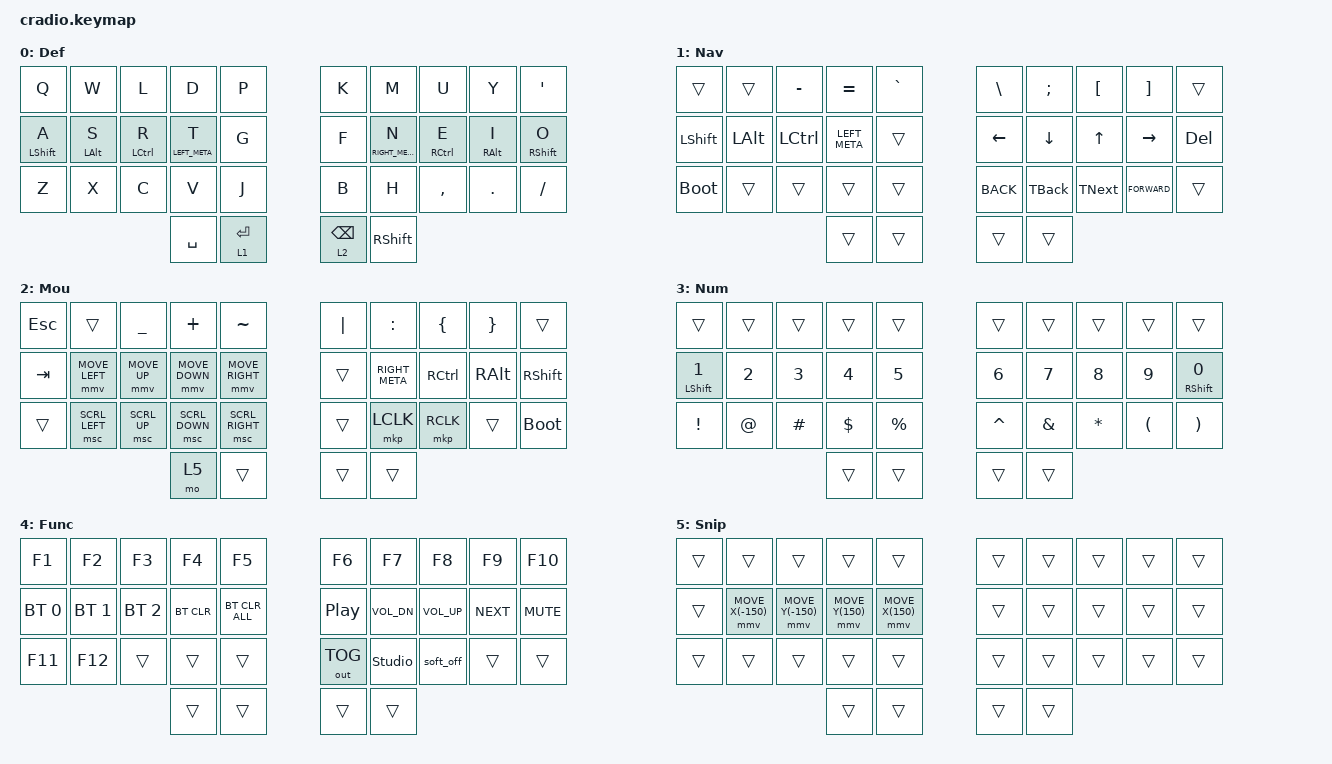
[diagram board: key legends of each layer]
// Copyright (c) 2022 The ZMK Contributors
// SPDX-License-Identifier: MIT

#define ZMK_POINTING_DEFAULT_MOVE_VAL 2400  // 600
#define ZMK_POINTING_DEFAULT_SCRL_VAL 30    // 10

#include "behaviors/character_map.dtsi"
#include "behaviors/send_string.dtsi"
#include "behaviors/report.dtsi"
#include <behaviors.dtsi>
#include <dt-bindings/zmk/bt.h>
#include <dt-bindings/zmk/keys.h>
#include <dt-bindings/zmk/outputs.h>
#include <dt-bindings/zmk/pointing.h>

#define MAC 0
#define WIN 1
#define RIG 2
#define LEF 3
#define TRI 4
#define MOUSE 5

// https://zmk.dev/docs/development/hardware-integration/soft-off-setup?advanced-methods=wakeup&kscan-type=dkscan

/ {
    keys {
        compatible = "gpio-keys";

        soft_off_gpio_key: soft_off_gpio_key { gpios = <&gpio1 6 (GPIO_ACTIVE_LOW | GPIO_PULL_UP)>; };
    };

    wakeup_scan: wakeup_scan {
        compatible = "zmk,kscan-gpio-direct";
        input-keys = <&soft_off_gpio_key>;
        wakeup-source;
    };

    side_band_behavior_triggers: side_band_behavior_triggers {
        compatible = "zmk,kscan-sideband-behaviors";
        kscan = <&wakeup_scan>;
        auto-enable;
        wakeup-source;
    };

    soft_off_wakers {
        compatible = "zmk,soft-off-wakeup-sources";
        wakeup-sources = <&wakeup_scan>;
    };
};

/ {
    vbatt: vbatt { compatible = "zmk,battery-nrf-vddh"; };

    chosen {
        zmk,charmap = &charmap_us;
        zmk,battery = &vbatt;
    };

    behaviors {
        hml: home_row_mod_left {
            compatible = "zmk,behavior-hold-tap";
            #binding-cells = <2>;
            flavor = "tap-preferred";
            require-prior-idle-ms = <150>;
            tapping-term-ms = <200>;
            quick-tap-ms = <175>;
            bindings = <&kp>, <&kp>;

            // Removed (Causes visual delay) hold-trigger-on-release;

            hold-trigger-key-positions = <5 6 7 8 9 15 16 17 18 19 25 26 27 28 29 32 33>;
        };

        hmr: home_row_mod_right {
            compatible = "zmk,behavior-hold-tap";
            #binding-cells = <2>;
            flavor = "tap-preferred";
            require-prior-idle-ms = <150>;
            tapping-term-ms = <250>;
            quick-tap-ms = <175>;
            bindings = <&kp>, <&kp>;

            // Removed (Causes visual delay) hold-trigger-on-release;

            hold-trigger-key-positions = <0 1 2 3 4 10 11 12 13 14 20 21 22 23 24 30 31>;
        };

        ht: hold_tap {
            display-name = "hold_tap";
            compatible = "zmk,behavior-hold-tap";
            #binding-cells = <2>;
            flavor = "balanced";
            tapping-term-ms = <250>;
            quick-tap-ms = <175>;
            bindings = <&kp>, <&kp>;

            hold-trigger-key-positions = <11 12 13 16 17 18 10 19>;
            hold-trigger-on-release;
            require-prior-idle-ms = <150>;
        };

        msl: Mod_S_Layer {
            compatible = "zmk,behavior-hold-tap";
            label = "Mod_S_Layer";
            bindings = <&kp>, <&sl>;

            #binding-cells = <2>;
            tapping-term-ms = <200>;
            quick-tap-ms = <150>;
            flavor = "balanced";
        };

        mmv {
            acceleration-exponent = <2>;      // 1
            time-to-max-speed-ms = <500>;    // 40
            delay-ms = <0>;                   // 0
        };

        msc {
            acceleration-exponent = <0>;      // 0
            time-to-max-speed-ms = <40>;      // 500
            delay-ms = <0>;                   // 10
        };
    };

    conditional_layers {
        compatible = "zmk,conditional-layers";

        Numbers {
            if-layers = <1 2>;
            then-layer = <3>;
        };
    };

    combos {
        compatible = "zmk,combos";

        Func {
            bindings = <&mo 4>;
            key-positions = <30 33>;
        };

        Copy {
            bindings = <&kp LC(C)>;
            key-positions = <22 23>;
        };

        Paste {
            bindings = <&kp LC(V)>;
            key-positions = <23 24>;
        };

        Undo {
            bindings = <&kp LC(Z)>;
            key-positions = <21 22>;
        };

        Cut {
            bindings = <&kp LC(X)>;
            key-positions = <21 20>;
        };
    };

    macros {
        TBack: TBack {
            compatible = "zmk,behavior-macro";
            #binding-cells = <0>;
            bindings =
                <&macro_press>,
                <&kp LEFT_CONTROL &kp LEFT_SHIFT>,
                <&macro_tap>,
                <&kp TAB>,
                <&macro_release>,
                <&kp LEFT_CONTROL &kp LEFT_SHIFT>;

            label = "TBACK";
        };

        TNext: TNext {
            compatible = "zmk,behavior-macro";
            #binding-cells = <0>;
            bindings =
                <&macro_press>,
                <&kp LEFT_CONTROL>,
                <&macro_tap>,
                <&kp TAB>,
                <&macro_release>,
                <&kp LEFT_CONTROL>;

            label = "TNEXT";
        };
    };

    keymap {
        compatible = "zmk,keymap";

        Default_layer {
            display-name = "Def";
            bindings = <
&kp Q          &kp W            &kp L                &kp D             &kp P          &kp K            &kp M              &kp U                 &kp Y             &kp SINGLE_QUOTE
&hml LSHIFT A  &hml LEFT_ALT S  &hml LEFT_CONTROL R  &hml LEFT_META T  &kp G          &kp F            &hmr RIGHT_META N  &hmr RIGHT_CONTROL E  &hmr RIGHT_ALT I  &hmr RIGHT_SHIFT O
&kp Z          &kp X            &kp C                &kp V             &kp J          &kp B            &kp H              &kp COMMA             &kp PERIOD        &kp SLASH
                                                     &kp SPACE         &lt 1 ENTER    &lt 2 BACKSPACE  &kp RSHIFT
            >;
        };

        Navigation {
            display-name = "Nav";
            bindings = <
&trans       &trans        &kp MINUS         &kp EQUAL      &kp GRAVE    &kp BACKSLASH  &kp SEMI        &kp LEFT_BRACKET  &kp RIGHT_BRACKET  &trans
&kp LSHIFT   &kp LEFT_ALT  &kp LEFT_CONTROL  &kp LEFT_META  &trans       &kp LEFT       &kp DOWN_ARROW  &kp UP_ARROW      &kp RIGHT          &kp DELETE
&bootloader  &trans        &trans            &trans         &trans       &kp K_BACK     &TBack          &TNext            &kp K_FORWARD      &trans
                                             &trans         &trans       &trans         &trans
            >;
        };

        Mouse {
            display-name = "Mou";
            bindings = <
&kp ESCAPE  &trans          &kp UNDERSCORE  &kp PLUS        &kp TILDE          &kp PIPE  &kp COLON       &kp LEFT_BRACE     &kp RIGHT_BRACE  &trans
&kp TAB     &mmv MOVE_LEFT  &mmv MOVE_UP    &mmv MOVE_DOWN  &mmv MOVE_RIGHT    &trans    &kp RIGHT_META  &kp RIGHT_CONTROL  &kp RIGHT_ALT    &kp RSHIFT
&trans      &msc SCRL_LEFT  &msc SCRL_UP    &msc SCRL_DOWN  &msc SCRL_RIGHT    &trans    &mkp LCLK       &mkp RCLK          &trans           &bootloader
                                            &mo 5          &trans             &trans    &trans
            >;
        };

        Numbers {
            display-name = "Num";
            bindings = <
&trans                &trans        &trans        &trans        &trans         &trans        &trans         &trans        &trans                &trans
&hml LSHIFT NUMBER_1  &kp NUMBER_2  &kp NUMBER_3  &kp NUMBER_4  &kp N5         &kp NUMBER_6  &kp NUMBER_7   &kp NUMBER_8  &kp NUMBER_9          &hmr RSHIFT N0
&kp EXCLAMATION       &kp AT_SIGN   &kp HASH      &kp DOLLAR    &kp PERCENT    &kp CARET     &kp AMPERSAND  &kp ASTERISK  &kp LEFT_PARENTHESIS  &kp RIGHT_PARENTHESIS
                                                  &trans        &trans         &trans        &trans
            >;
        };

        Functions {
            display-name = "Func";
            bindings = <
&kp F1        &kp F2        &kp F3        &kp F4      &kp F5            &kp F6            &kp F7          &kp F8        &kp F9      &kp F10
&bt BT_SEL 0  &bt BT_SEL 1  &bt BT_SEL 2  &bt BT_CLR  &bt BT_CLR_ALL    &kp C_PLAY_PAUSE  &kp C_VOL_DN    &kp C_VOL_UP  &kp C_NEXT  &kp K_MUTE
&kp F11       &kp F12       &trans        &trans      &trans            &out OUT_TOG      &studio_unlock  &soft_off     &trans      &trans
                                          &trans      &trans            &trans            &trans
            >;
        };
        Sniper_layer {
            display-name = "Snip";
            bindings = <
&trans  &trans                  &trans                  &trans                 &trans                   &trans  &trans  &trans  &trans  &trans
&trans  &mmv MOVE_X(-150)       &mmv MOVE_Y(-150)       &mmv MOVE_Y(150)       &mmv MOVE_X(150)         &trans  &trans  &trans  &trans  &trans
&trans  &trans                  &trans                  &trans                 &trans                   &trans  &trans  &trans  &trans  &trans
                                                        &trans                 &trans                   &trans  &trans
            >;
        };
    };
};
